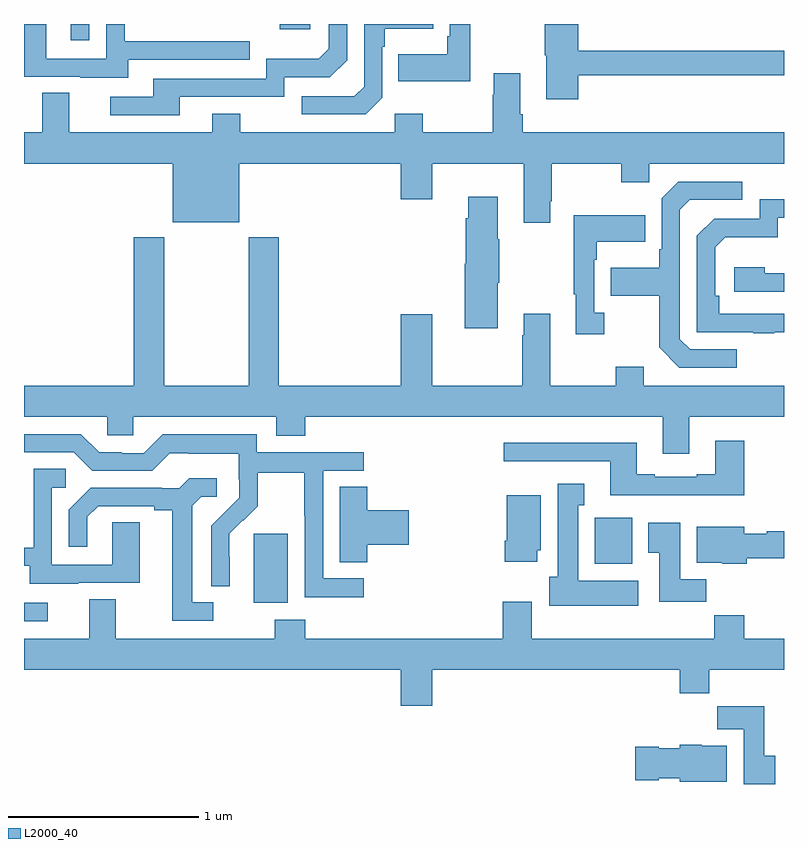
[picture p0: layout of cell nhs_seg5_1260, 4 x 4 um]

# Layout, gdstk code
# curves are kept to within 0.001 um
import gdstk
lib = gdstk.Library(unit=1e-6, precision=1e-09)
def R(c, l, rs):  # rectangles x0, y0, x1, y1
    for r in rs: c.add(gdstk.rectangle(r[:2], r[2:], *l))
def P(c, l, *ps):  # polygons
    for p in ps: c.add(gdstk.Polygon(p, *l))
L2000_40 = (2000, 40)

nhs_seg5_1260 = lib.new_cell('nhs_seg5_1260')
R(nhs_seg5_1260, L2000_40, [(187,883.656,187.126,883.752), (188.21,883.754,188.389,884.115), (190.004,883.958,190.201,884.2), (187.247,886.713,187.344,886.799), (188.345,886.772,188.506,886.799)])
P(nhs_seg5_1260, L2000_40, [(187.549,886.611),(188.189,886.611),(188.189,886.707),(187.53,886.707),(187.53,886.799),(187.434,886.799),(187.434,886.617),(187.116,886.617),(187.116,886.799),(187,886.799),(187,886.521),(187.295,886.521),(187.295,886.517),(187.549,886.517)],
  [(187.819,886.416),(188.37,886.416),(188.37,886.518),(188.61,886.518),(188.7,886.608),(188.7,886.799),(188.604,886.799),(188.604,886.668),(188.551,886.615),(188.274,886.615),(188.274,886.512),(187.679,886.512),(187.679,886.416),(187.455,886.416),(187.455,886.32),(187.819,886.32)],
  [(189.349,886.799),(189.24,886.799),(189.24,886.735),(189.228,886.735),(189.228,886.639),(188.971,886.639),(188.971,886.499),(189.349,886.499)],
  [(189.917,886.53),(191,886.53),(191,886.658),(189.917,886.658),(189.917,886.799),(189.742,886.799),(189.742,886.635),(189.749,886.635),(189.749,886.404),(189.917,886.404)],
  [(188.886,886.41),(188.886,886.679),(188.899,886.679),(188.899,886.775),(189.155,886.775),(189.155,886.799),(188.79,886.799),(188.79,886.47),(188.739,886.419),(188.463,886.419),(188.463,886.323),(188.799,886.323)],
  [(189.769,885.865),(189.777,885.865),(189.777,886.064),(190.144,886.064),(190.144,885.965),(190.29,885.965),(190.29,886.064),(191,886.064),(191,886.228),(189.626,886.228),(189.626,886.324),(189.613,886.324),(189.613,886.54),(189.473,886.54),(189.473,886.427),(189.466,886.427),(189.466,886.228),(189.099,886.228),(189.099,886.327),(188.952,886.327),(188.952,886.228),(188.139,886.228),(188.139,886.327),(187.991,886.327),(187.991,886.228),(187.237,886.228),(187.237,886.436),(187.097,886.436),(187.097,886.228),(187,886.228),(187,886.064),(187.784,886.064),(187.784,885.755),(188.134,885.755),(188.134,886.064),(188.984,886.064),(188.984,885.876),(189.148,885.876),(189.148,886.064),(189.629,886.064),(189.629,885.753),(189.769,885.753)],
  [(190.75,885.087),(190.506,885.087),(190.452,885.141),(190.452,885.822),(190.503,885.873),(190.78,885.873),(190.78,885.969),(190.443,885.969),(190.356,885.882),(190.356,885.613),(190.344,885.613),(190.344,885.517),(190.087,885.517),(190.087,885.37),(190.344,885.37),(190.344,885.097),(190.449,884.991),(190.75,884.991)],
  [(189.493,885.437),(189.501,885.437),(189.501,885.665),(189.493,885.665),(189.493,885.889),(189.338,885.889),(189.338,885.776),(189.326,885.776),(189.326,885.537),(189.32,885.537),(189.32,885.197),(189.493,885.197)],
  [(190.949,885.177),(191,885.177),(191,885.273),(190.658,885.273),(190.658,885.37),(190.638,885.37),(190.638,885.624),(190.691,885.677),(190.968,885.677),(190.968,885.78),(191,885.78),(191,885.876),(190.872,885.876),(190.872,885.774),(190.632,885.774),(190.542,885.684),(190.542,885.177),(190.837,885.177),(190.837,885.172),(190.949,885.172)],
  [(190.054,885.278),(190.002,885.278),(190.002,885.557),(190.015,885.557),(190.015,885.653),(190.271,885.653),(190.271,885.793),(189.894,885.793),(189.894,885.377),(189.905,885.377),(189.905,885.165),(190.054,885.165)],
  [(190.501,884.732),(191,884.732),(191,884.896),(190.261,884.896),(190.261,884.995),(190.114,884.995),(190.114,884.896),(189.769,884.896),(189.769,885.274),(189.629,885.274),(189.629,885.161),(189.622,885.161),(189.622,884.896),(189.148,884.896),(189.148,885.271),(188.984,885.271),(188.984,884.896),(188.342,884.896),(188.342,885.676),(188.182,885.676),(188.182,884.896),(187.737,884.896),(187.737,885.676),(187.577,885.676),(187.577,884.896),(187,884.896),(187,884.732),(187.437,884.732),(187.437,884.634),(187.575,884.634),(187.575,884.732),(188.327,884.732),(188.327,884.633),(188.48,884.633),(188.48,884.732),(190.361,884.732),(190.361,884.538),(190.501,884.538)],
  [(191,885.486),(190.898,885.486),(190.898,885.52),(190.737,885.52),(190.737,885.39),(191,885.39)],
  [(188.788,883.881),(188.574,883.881),(188.574,884.448),(188.788,884.448),(188.788,884.544),(188.226,884.544),(188.226,884.641),(187.729,884.641),(187.629,884.541),(187.514,884.541),(187.514,884.544),(187.395,884.544),(187.299,884.64),(187,884.64),(187,884.544),(187.263,884.544),(187.359,884.448),(187.674,884.448),(187.767,884.541),(187.867,884.541),(187.867,884.537),(188.13,884.537),(188.13,884.403),(188.132,884.403),(188.132,884.306),(187.986,884.158),(187.986,883.84),(188.082,883.84),(188.081,884.117),(188.151,884.187),(188.154,884.184),(188.231,884.261),(188.231,884.436),(188.476,884.436),(188.476,884.212),(188.478,884.212),(188.478,883.783),(188.788,883.783)],
  [(190.79,884.605),(190.637,884.605),(190.637,884.428),(190.541,884.428),(190.541,884.415),(190.321,884.415),(190.321,884.428),(190.225,884.428),(190.225,884.596),(189.525,884.596),(189.525,884.499),(190.085,884.499),(190.085,884.318),(190.79,884.318)],
  [(187.285,883.857),(187.609,883.857),(187.609,884.177),(187.464,884.177),(187.464,883.953),(187.146,883.953),(187.146,884.358),(187.219,884.358),(187.219,884.459),(187.05,884.459),(187.05,884.043),(187,884.043),(187,883.947),(187.031,883.947),(187.031,883.853),(187.285,883.853)],
  [(187.996,883.755),(187.885,883.755),(187.885,884.263),(187.932,884.31),(188.014,884.31),(188.014,884.407),(187.87,884.407),(187.818,884.355),(187.724,884.355),(187.724,884.358),(187.352,884.358),(187.236,884.242),(187.236,884.049),(187.333,884.049),(187.333,884.205),(187.39,884.262),(187.685,884.262),(187.685,884.24),(187.781,884.24),(187.781,883.659),(187.996,883.659)],
  [(190.234,883.87),(189.916,883.87),(189.916,884.267),(189.949,884.267),(189.949,884.38),(189.809,884.38),(189.809,883.89),(189.764,883.89),(189.764,883.736),(190.234,883.736)],
  [(188.807,884.057),(189.025,884.057),(189.025,884.24),(188.807,884.24),(188.807,884.363),(188.663,884.363),(188.663,883.966),(188.807,883.966)],
  [(189.7,884.028),(189.721,884.028),(189.721,884.32),(189.542,884.32),(189.542,884.08),(189.53,884.08),(189.53,883.968),(189.7,883.968)],
  [(190.592,883.876),(190.453,883.876),(190.453,884.173),(190.286,884.173),(190.286,884.017),(190.343,884.017),(190.343,883.758),(190.592,883.758)],
  [(190.805,883.987),(191,883.987),(191,884.129),(190.908,884.129),(190.908,884.116),(190.792,884.116),(190.792,884.152),(190.541,884.152),(190.541,883.964),(190.674,883.964),(190.674,883.958),(190.805,883.958)],
  [(189.148,883.4),(190.451,883.4),(190.451,883.276),(190.607,883.276),(190.607,883.4),(191,883.4),(191,883.564),(190.79,883.564),(190.79,883.688),(190.633,883.688),(190.633,883.564),(189.673,883.564),(189.673,883.759),(189.521,883.759),(189.521,883.564),(188.48,883.564),(188.48,883.663),(188.32,883.663),(188.32,883.564),(187.483,883.564),(187.483,883.772),(187.343,883.772),(187.343,883.564),(187,883.564),(187,883.4),(188.984,883.4),(188.984,883.212),(189.148,883.212)],
  [(190.954,882.948),(190.897,882.948),(190.897,883.207),(190.648,883.207),(190.648,883.088),(190.787,883.088),(190.787,882.799),(190.954,882.799)],
  [(190.699,883),(190.566,883),(190.566,883.006),(190.452,883.006),(190.452,882.988),(190.341,882.988),(190.341,882.996),(190.218,882.996),(190.218,882.818),(190.341,882.818),(190.341,882.83),(190.452,882.83),(190.452,882.812),(190.699,882.812)])

lib.write_gds('nhs_seg5_1260.gds')
